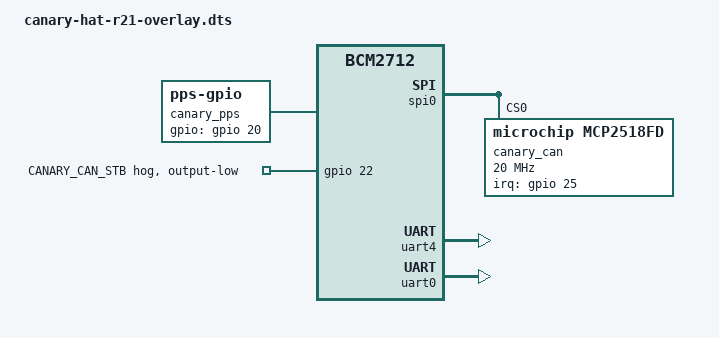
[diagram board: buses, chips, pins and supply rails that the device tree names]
// CANary-HAT rev 2.1 board overlay (Raspberry Pi 5).
//
// Named by the rev 2.1 ID EEPROM (eeprom_settings-r21.txt, dt_blob
// "canary-hat-r21"); a rev 2.0 board's EEPROM names canary-hat-overlay.dts
// instead, so each board loads its own wiring. hat_revisions.json holds the
// same pin facts for software, and tests/test_hat_revisions.py checks this file
// against its row. What changed from rev 2.0 (docs/CANary-HAT-Rev2.1.md
// §13.5.13) is the GNSS UART and PPS pin; CAN and K-line are unchanged:
//
//   CAN   MCP2518FD (U3) on SPI0 CE0, nINT GPIO25, 40 MHz crystal (Y1) -> can0
//         TCAN1042 (U4) STB on GPIO22, hogged LOW (see canary-hat-overlay.dts
//         for why the hog, not the daemon, owns it)
//   GNSS  MAX-M10M (U7) on uart4 (GPIO12 TX / GPIO13 RX) -> /dev/ttyAMA4
//         TIMEPULSE on GPIO20 -> pps-gpio. The node keeps rev 2.0's name
//         (canary-pps), so install_pi.sh's /dev/pps-canary rule and chrony's
//         refclock need nothing per revision.
//   K-line TLIN1027 (U2) on uart0 (GPIO14/15) -> /dev/ttyAMA0
//
// GPIO6 stays free on both revisions: it is the X1202's power-loss line,
// held by scripts/ups_shutdown_watch.py.
//
// Deliberately NOT here:
//   - The ADS8688A (U8) on SPI0 CE1. Only CE0's spidev is disabled, so with
//     spi0 enabled below CE1 comes up as /dev/spidev0.1 for the userspace
//     driver (SPI mode 1, src/collection/ads8688a.py), the way the IMU and
//     rev 2.0's ADC are read. Not yet confirmed on a board: checkout_hat.sh
//     reads it on the first one.
//   - GPIO19 = SENS_PWR_EN (U9 enable, the 5 V sensor supply). R47 holds it
//     low, so the sensor ports are off until software drives it high: the
//     ADC collector (hardware.hat_adc) does, while it runs.
//   - GPIO21 (K-line pull-up FET) and GPIO26 (TLIN1027 EN): the K-line
//     collector's, as on rev 2.0 (there GPIO24 and GPIO26).
//   - The LSM6DSOX (0x6B); its INT1 is GPIO17 and INT2 GPIO23, both unused.
//     Rev 2.1 has no barometer.
//
// Constants are written numerically so plain `dtc` builds it on the Pi with no
// kernel headers: IRQ_TYPE_LEVEL_LOW = 8, GPIO_ACTIVE_HIGH = 0,
// BCM2835_FSEL_GPIO_IN = 0.
//
// Build: dtc -@ -I dts -O dtb -o canary-hat-r21.dtbo canary-hat-r21-overlay.dts

/dts-v1/;
/plugin/;

/ {
	compatible = "brcm,bcm2712";

	fragment@0 {
		target = <&spidev0>;
		__overlay__ {
			status = "disabled";
		};
	};

	fragment@1 {
		target-path = "/clocks";
		__overlay__ {
			clk_canary_can: clk_canary_can {
				#clock-cells = <0>;
				compatible = "fixed-clock";
				clock-frequency = <40000000>;
			};
		};
	};

	fragment@2 {
		target = <&gpio>;
		__overlay__ {
			canary_can_int: canary_can_int {
				brcm,pins = <25>;
				brcm,function = <0>;
			};

			canary_pps_pins: canary_pps_pins {
				brcm,pins = <20>;
				brcm,function = <0>;
				brcm,pull = <0>;
			};

			canary_can_stb {
				gpio-hog;
				gpios = <22 0>;
				output-low;
				line-name = "CANARY_CAN_STB";
			};
		};
	};

	fragment@3 {
		target = <&spi0>;
		__overlay__ {
			status = "okay";
			#address-cells = <1>;
			#size-cells = <0>;

			canary_can: can@0 {
				compatible = "microchip,mcp2518fd";
				reg = <0>;
				pinctrl-names = "default";
				pinctrl-0 = <&canary_can_int>;
				spi-max-frequency = <20000000>;
				interrupt-parent = <&gpio>;
				interrupts = <25 8>;
				clocks = <&clk_canary_can>;
			};
		};
	};

	fragment@4 {
		target = <&uart4>;
		__overlay__ {
			status = "okay";
			pinctrl-0 = <&uart4_pins>;
		};
	};

	fragment@5 {
		target-path = "/";
		__overlay__ {
			canary_pps: canary-pps {
				compatible = "pps-gpio";
				pinctrl-names = "default";
				pinctrl-0 = <&canary_pps_pins>;
				gpios = <&gpio 20 0>;
				status = "okay";
			};
		};
	};

	fragment@6 {
		target = <&uart0>;
		__overlay__ {
			status = "okay";
			pinctrl-0 = <&uart0_pins>;
		};
	};
};
